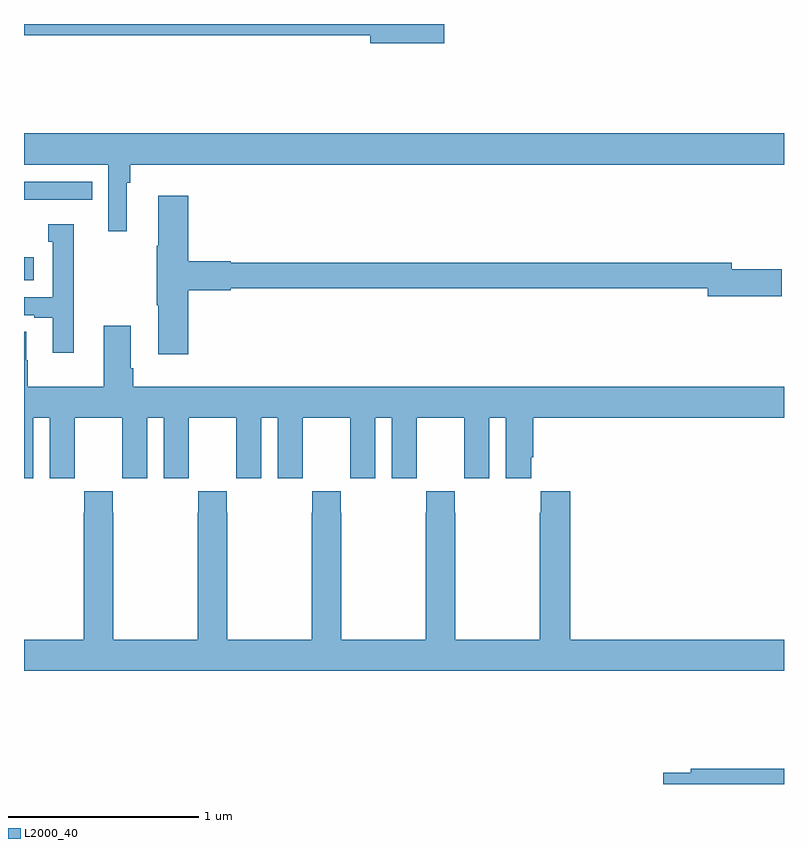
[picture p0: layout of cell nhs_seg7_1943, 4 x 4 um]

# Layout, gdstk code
import gdstk
lib = gdstk.Library(unit=1e-6, precision=1e-09)
def R(c, l, rs):  # rectangles x0, y0, x1, y1
    for r in rs: c.add(gdstk.rectangle(r[:2], r[2:], *l))
def P(c, l, *ps):  # polygons
    for p in ps: c.add(gdstk.Polygon(p, *l))
L2000_40 = (2000, 40)

nhs_seg7_1943 = lib.new_cell('nhs_seg7_1943')
R(nhs_seg7_1943, L2000_40, [(241,1022.651,241.051,1022.773), (241,1023.075,241.358,1023.171)])
P(nhs_seg7_1943, L2000_40, [(243.211,1024),(241,1024),(241,1023.94),(242.822,1023.94),(242.822,1023.898),(243.211,1023.898)],
  [(241.54,1023.164),(241.559,1023.164),(241.559,1023.26),(245,1023.26),(245,1023.424),(241,1023.424),(241,1023.26),(241.443,1023.26),(241.443,1022.91),(241.54,1022.91)],
  [(241.865,1022.6),(242.088,1022.6),(242.088,1022.608),(244.598,1022.608),(244.598,1022.566),(244.987,1022.566),(244.987,1022.708),(244.726,1022.708),(244.726,1022.744),(242.088,1022.744),(242.088,1022.752),(241.865,1022.752),(241.865,1023.097),(241.706,1023.097),(241.706,1022.833),(241.699,1022.833),(241.699,1022.519),(241.706,1022.519),(241.706,1022.262),(241.865,1022.262)],
  [(241.261,1022.947),(241.127,1022.947),(241.127,1022.853),(241.152,1022.853),(241.152,1022.562),(241,1022.562),(241,1022.466),(241.055,1022.466),(241.055,1022.454),(241.151,1022.454),(241.151,1022.271),(241.261,1022.271)],
  [(241.048,1021.928),(241.136,1021.928),(241.136,1021.608),(241.266,1021.608),(241.266,1021.72),(241.267,1021.72),(241.267,1021.928),(241.517,1021.928),(241.517,1021.72),(241.518,1021.72),(241.518,1021.608),(241.648,1021.608),(241.648,1021.928),(241.736,1021.928),(241.736,1021.608),(241.866,1021.608),(241.866,1021.72),(241.867,1021.72),(241.867,1021.928),(242.117,1021.928),(242.117,1021.72),(242.118,1021.72),(242.118,1021.608),(242.248,1021.608),(242.248,1021.928),(242.336,1021.928),(242.336,1021.608),(242.466,1021.608),(242.466,1021.72),(242.467,1021.72),(242.467,1021.928),(242.717,1021.928),(242.717,1021.72),(242.718,1021.72),(242.718,1021.608),(242.848,1021.608),(242.848,1021.928),(242.936,1021.928),(242.936,1021.608),(243.066,1021.608),(243.066,1021.72),(243.067,1021.72),(243.067,1021.928),(243.317,1021.928),(243.317,1021.72),(243.318,1021.72),(243.318,1021.608),(243.448,1021.608),(243.448,1021.928),(243.536,1021.928),(243.536,1021.608),(243.67,1021.608),(243.67,1021.72),(243.68,1021.72),(243.68,1021.928),(245,1021.928),(245,1022.092),(241.574,1022.092),(241.574,1022.188),(241.561,1022.188),(241.561,1022.413),(241.421,1022.413),(241.421,1022.092),(241.02,1022.092),(241.02,1022.231),(241.012,1022.231),(241.012,1022.381),(241,1022.381),(241,1021.608),(241.048,1021.608)],
  [(243.267,1021.427),(243.267,1021.54),(243.117,1021.54),(243.117,1021.427),(243.115,1021.427),(243.115,1020.76),(242.67,1020.76),(242.67,1021.427),(242.667,1021.427),(242.667,1021.54),(242.517,1021.54),(242.517,1021.427),(242.515,1021.427),(242.515,1020.76),(242.07,1020.76),(242.07,1021.427),(242.067,1021.427),(242.067,1021.54),(241.917,1021.54),(241.917,1021.427),(241.915,1021.427),(241.915,1020.76),(241.47,1020.76),(241.47,1021.427),(241.467,1021.427),(241.467,1021.54),(241.317,1021.54),(241.317,1021.427),(241.315,1021.427),(241.315,1020.76),(241,1020.76),(241,1020.596),(245,1020.596),(245,1020.76),(243.875,1020.76),(243.875,1021.54),(243.721,1021.54),(243.721,1021.427),(243.715,1021.427),(243.715,1020.76),(243.27,1020.76),(243.27,1021.427)],
  [(245,1020.08),(244.51,1020.08),(244.51,1020.06),(244.364,1020.06),(244.364,1020),(245,1020)])

lib.write_gds('nhs_seg7_1943.gds')
